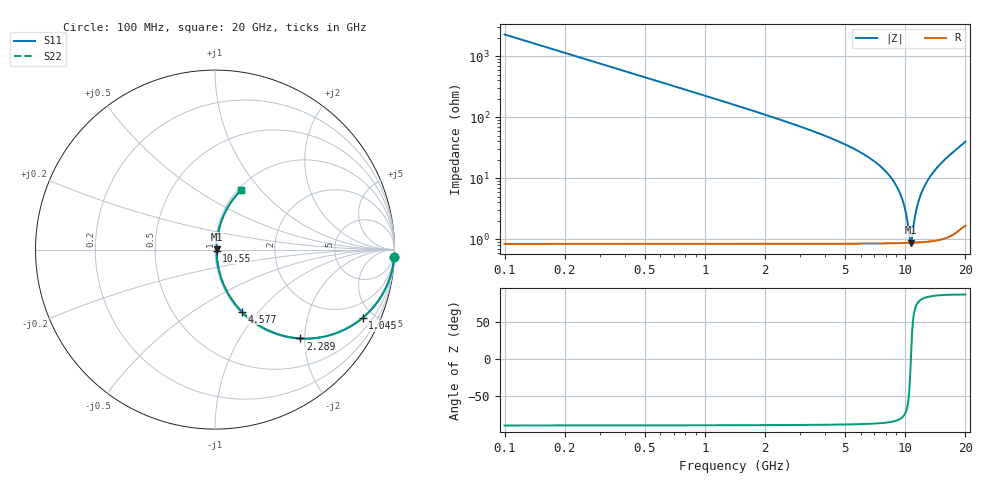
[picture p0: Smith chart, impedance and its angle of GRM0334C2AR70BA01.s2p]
!Murata Part Number: GRM0334C2AR70BA01
!These Parameters are Measured in Series Mode Connection
!Data Generated on Mar 30, 2021
!  o--ll--o
!Port1  Port2
!  o------o
!Operation Temp=25[degC], DC Bias Voltage=0[V]
!Freq. Start=100[MHz] Stop=20[GHz] 401[Steps]
# Hz S RI R 50
!Freq.(Hz) S11(Real) S11(Imag) S21(Real) S21(Imag) S12(Real) S12(Imag) S22(Real) S22(Imag)
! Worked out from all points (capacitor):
!   401 points, 100 MHz to 20 GHz, reference 50 ohm
!   read as one part in series: C = 700 fF near 199.5 MHz
!   lowest |Z| = 875 mohm at 10.7 GHz (marker M1)
!   series resonance near 10.68 GHz, so ESL is about 320 pH
!   S11 on the Smith chart (normalised r, x): 100 MHz: 1, -45; 1.045 GHz: 1.02, -4.31; 2.289 GHz: 1.02, -1.90; 4.577 GHz: 1.02, -0.82; 10.55 GHz: 1.02, -0.01; 20 GHz: 1.03, +0.79
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1e8  0.9981 -0.0439  0.00195 0.0439  0.00195 0.0439  0.9981 -0.0439
2.99e8  0.9828 -0.1293  0.0172 0.1293  0.0172 0.1293  0.9828 -0.1293
4.4825e8  0.9622 -0.1899  0.0378 0.1899  0.0378 0.1899  0.9622 -0.1899
6.97e8  0.9129 -0.2807  0.0871 0.2807  0.0871 0.2807  0.9129 -0.2807
1.04525e9  0.8219 -0.3806  0.1781 0.3806  0.1781 0.3806  0.8219 -0.3806
1.5925e9  0.6605 -0.4705  0.3395 0.4705  0.3395 0.4705  0.6605 -0.4705
2.289e9  0.4747 -0.495  0.5253 0.495  0.5253 0.495  0.4747 -0.495
3.43325e9  0.2659 -0.4348  0.7341 0.4348  0.7341 0.4348  0.2659 -0.4348
4.5775e9  0.1489 -0.3458  0.8511 0.3458  0.8511 0.3458  0.1489 -0.3458
6.7665e9  0.0481 -0.1944  0.9519 0.1944  0.9519 0.1944  0.0481 -0.1944
8.856e9  0.0153 -0.0817  0.9847 0.0817  0.9847 0.0817  0.0153 -0.0817
9.5525e9  0.011 -0.0491  0.989 0.0491  0.989 0.0491  0.011 -0.0491
1.005e10  0.00932 -0.027  0.9907 0.027  0.9907 0.027  0.00932 -0.027
1.05475e10  0.00866 -0.00563  0.9913 0.00563  0.9913 0.00563  0.00866 -0.00563
1.069675e10  0.00865 0.000628  0.9914 -0.000628  0.9914 -0.000628  0.00865 0.000628
1.079625e10  0.00868 0.00476  0.9913 -0.00476  0.9913 -0.00476  0.00868 0.00476
1.1244e10  0.00925 0.023  0.9908 -0.023  0.9908 -0.023  0.00925 0.023
1.169175e10  0.0105 0.0408  0.9895 -0.0408  0.9895 -0.0408  0.0105 0.0408
1.238825e10  0.0135 0.0677  0.9865 -0.0677  0.9865 -0.0677  0.0135 0.0677
1.338325e10  0.0203 0.1047  0.9797 -0.1047  0.9797 -0.1047  0.0203 0.1047
1.67165e10  0.0634 0.2217  0.9366 -0.2217  0.9366 -0.2217  0.0634 0.2217
2e10  0.1464 0.3332  0.8536 -0.3332  0.8536 -0.3332  0.1464 0.3332
